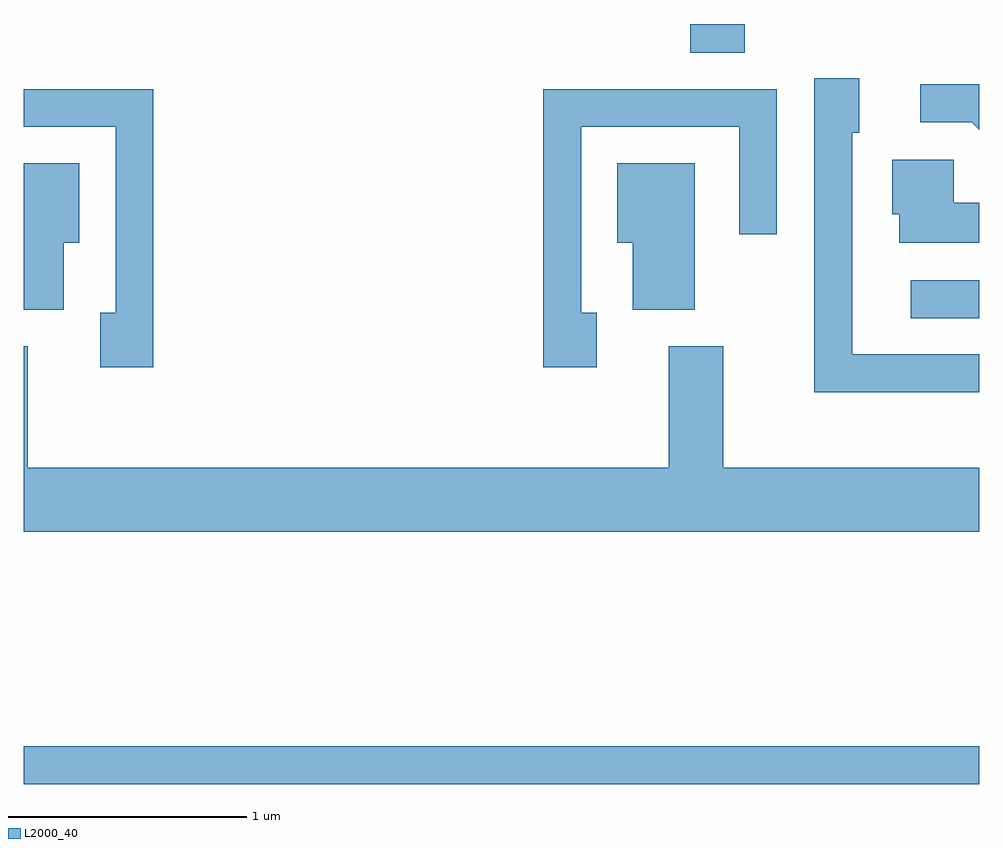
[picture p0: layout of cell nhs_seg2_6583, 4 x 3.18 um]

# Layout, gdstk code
import gdstk
lib = gdstk.Library(unit=1e-6, precision=1e-09)
def R(c, l, rs):  # rectangles x0, y0, x1, y1
    for r in rs: c.add(gdstk.rectangle(r[:2], r[2:], *l))
def P(c, l, *ps):  # polygons
    for p in ps: c.add(gdstk.Polygon(p, *l))
L2000_40 = (2000, 40)

nhs_seg2_6583 = lib.new_cell('nhs_seg2_6583')
R(nhs_seg2_6583, L2000_40, [(379.611,1020.621,383.611,1020.779), (383.323,1022.571,383.611,1022.729), (382.401,1023.681,382.629,1023.802)])
P(nhs_seg2_6583, L2000_40, [(383.611,1022.419),(383.079,1022.419),(383.079,1023.346),(383.109,1023.346),(383.109,1023.574),(382.921,1023.574),(382.921,1022.261),(383.611,1022.261)],
  [(383.611,1023.549),(383.363,1023.549),(383.363,1023.391),(383.579,1023.391),(383.611,1023.359)],
  [(380.154,1023.529),(379.611,1023.529),(379.611,1023.371),(379.996,1023.371),(379.996,1022.594),(379.931,1022.594),(379.931,1022.366),(380.154,1022.366)],
  [(382.009,1022.594),(381.944,1022.594),(381.944,1023.371),(382.606,1023.371),(382.606,1022.923),(382.764,1022.923),(382.764,1023.529),(381.786,1023.529),(381.786,1022.366),(382.009,1022.366)],
  [(383.611,1023.054),(383.504,1023.054),(383.504,1023.234),(383.246,1023.234),(383.246,1023.006),(383.276,1023.006),(383.276,1022.886),(383.611,1022.886)],
  [(379.779,1022.886),(379.844,1022.886),(379.844,1023.219),(379.611,1023.219),(379.611,1022.606),(379.779,1022.606)],
  [(382.419,1023.219),(382.096,1023.219),(382.096,1022.886),(382.161,1022.886),(382.161,1022.606),(382.419,1022.606)],
  [(383.611,1021.944),(382.539,1021.944),(382.539,1022.454),(382.311,1022.454),(382.311,1021.944),(379.629,1021.944),(379.629,1022.454),(379.611,1022.454),(379.611,1021.676),(383.611,1021.676)])

lib.write_gds('nhs_seg2_6583.gds')
